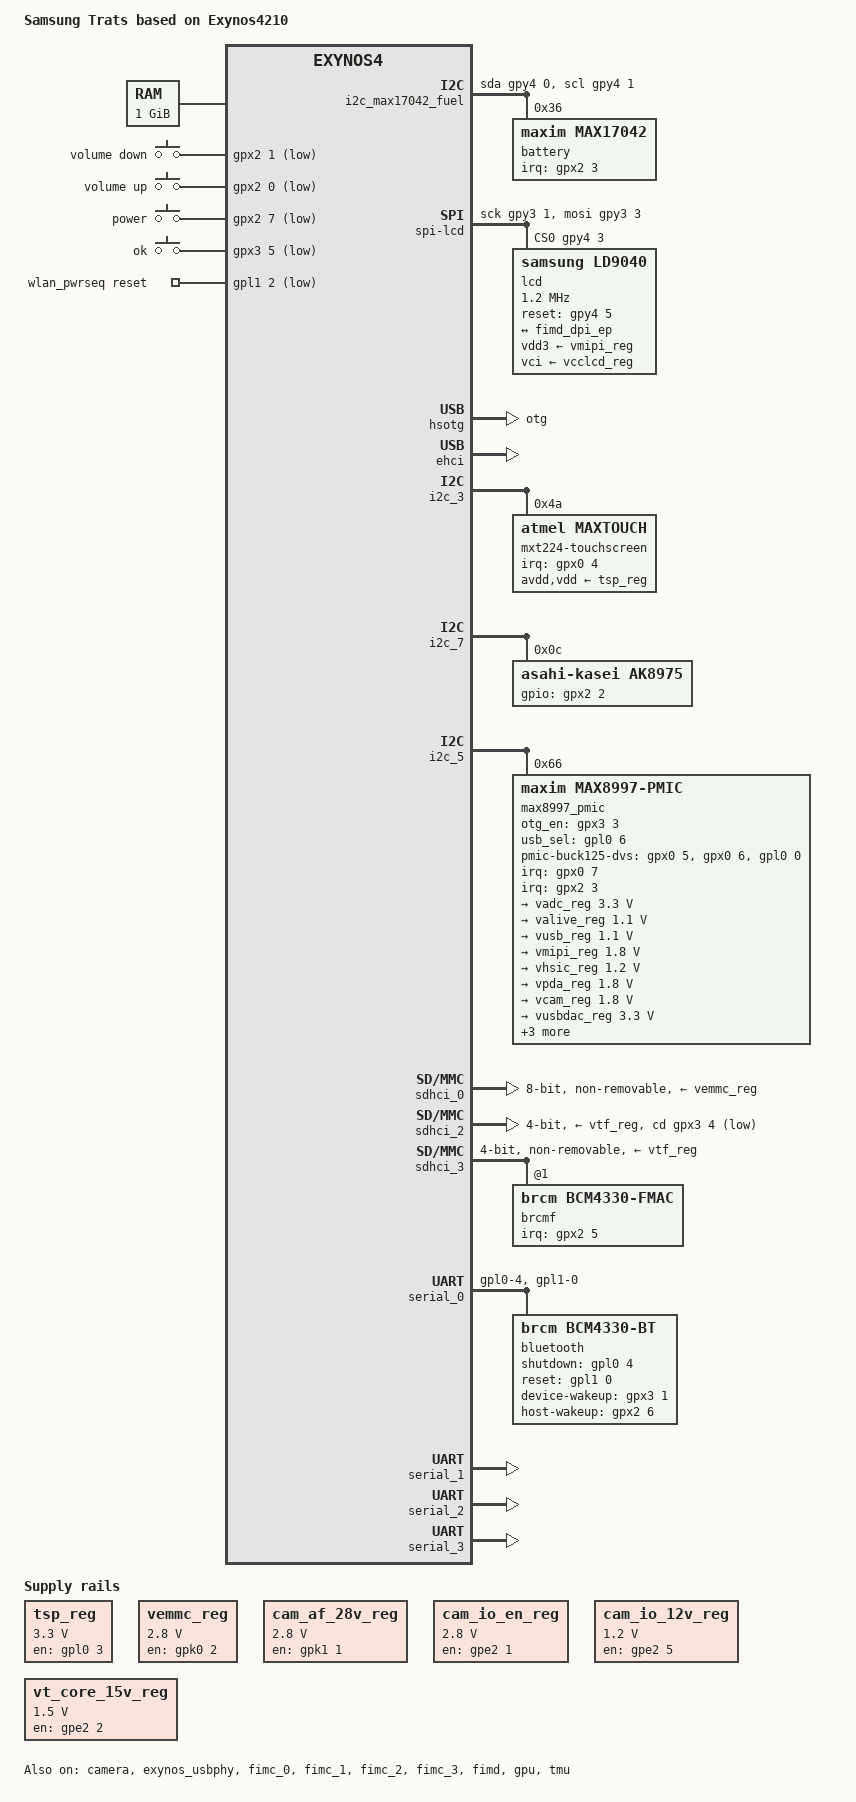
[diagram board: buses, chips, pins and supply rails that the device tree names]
// SPDX-License-Identifier: GPL-2.0
/*
 * Samsung's Exynos4210 based Trats board device tree source
 *
 * Copyright (c) 2012 Samsung Electronics Co., Ltd.
 *		http://www.samsung.com
 *
 * Device tree source file for Samsung's Trats board which is based on
 * Samsung's Exynos4210 SoC.
 */

/dts-v1/;
#include "exynos4210.dtsi"
#include "exynos4412-ppmu-common.dtsi"

#include <dt-bindings/gpio/gpio.h>

/ {
	model = "Samsung Trats based on Exynos4210";
	compatible = "samsung,i9100", "samsung,exynos4210", "samsung,exynos4";


	memory@40000000 {
		device_type = "memory";
		reg =  <0x40000000 0x40000000>;
	};


                tsp_reg: regulator-1 {
                        compatible = "regulator-fixed";
                        regulator-name = "TSP_FIXED_VOLTAGES";
                        regulator-min-microvolt = <3300000>;
                        regulator-max-microvolt = <3300000>;
                        gpio = <&gpl0 3 GPIO_ACTIVE_HIGH>;
			startup-delay-us = <70000>;
			enable-active-high;
			regulator-boot-on;
	                regulator-always-on;
                };

		vemmc_reg: regulator-0 {
			compatible = "regulator-fixed";
			regulator-name = "VMEM_VDD_2.8V";
			regulator-min-microvolt = <2800000>;
			regulator-max-microvolt = <2800000>;
			gpio = <&gpk0 2 GPIO_ACTIVE_HIGH>;
			enable-active-high;
		};

		cam_af_28v_reg: regulator-3 {
			compatible = "regulator-fixed";
			regulator-name = "8M_AF_2.8V_EN";
			regulator-min-microvolt = <2800000>;
			regulator-max-microvolt = <2800000>;
			gpio = <&gpk1 1 GPIO_ACTIVE_HIGH>;
			enable-active-high;
		};

		cam_io_en_reg: regulator-4 {
			compatible = "regulator-fixed";
			regulator-name = "CAM_IO_EN";
			regulator-min-microvolt = <2800000>;
			regulator-max-microvolt = <2800000>;
			gpio = <&gpe2 1 GPIO_ACTIVE_HIGH>;
			enable-active-high;
		};

		cam_io_12v_reg: regulator-5 {
			compatible = "regulator-fixed";
			regulator-name = "8M_1.2V_EN";
			regulator-min-microvolt = <1200000>;
			regulator-max-microvolt = <1200000>;
			gpio = <&gpe2 5 GPIO_ACTIVE_HIGH>;
			enable-active-high;
		};

		vt_core_15v_reg: regulator-6 {
			compatible = "regulator-fixed";
			regulator-name = "VT_CORE_1.5V";
			regulator-min-microvolt = <1500000>;
			regulator-max-microvolt = <1500000>;
			gpio = <&gpe2 2 GPIO_ACTIVE_HIGH>;
			enable-active-high;
		};

	gpio-keys {
		compatible = "gpio-keys";

		vol-down-key {
			gpios = <&gpx2 1 GPIO_ACTIVE_LOW>;
			linux,code = <114>;
			label = "volume down";
			debounce-interval = <10>;
		};

		vol-up-key {
			gpios = <&gpx2 0 GPIO_ACTIVE_LOW>;
			linux,code = <115>;
			label = "volume up";
			debounce-interval = <10>;
		};

		power-key {
			gpios = <&gpx2 7 GPIO_ACTIVE_LOW>;
			linux,code = <116>;
			label = "power";
			debounce-interval = <10>;
			wakeup-source;
		};

		ok-key {
			gpios = <&gpx3 5 GPIO_ACTIVE_LOW>;
			linux,code = <352>;
			label = "ok";
			debounce-interval = <10>;
		};
	};

        wlan_pwrseq: sdhci3-pwrseq {
                compatible = "mmc-pwrseq-simple";
                reset-gpios = <&gpl1 2 GPIO_ACTIVE_LOW>;
        };

        i2c_max17042_fuel: i2c-gpio-3 {
                compatible = "i2c-gpio";
                gpios = <&gpy4 0 GPIO_ACTIVE_HIGH>, <&gpy4 1 GPIO_ACTIVE_HIGH>;
                i2c-gpio,delay-us = <5>;
                #address-cells = <1>;
                #size-cells = <0>;
                status = "okay";

                battery@36 {
                        compatible = "maxim,max17042";
                        pinctrl-0 = <&max17042_fuel_irq>;
                        pinctrl-names = "default";
                        interrupt-parent = <&gpx2>;
                        interrupts = <3 2>;

                        reg = <0x36>;
                        maxim,over-heat-temp = <700>;
                        maxim,over-volt = <4500>;

                };
        };

	spi-lcd {
		compatible = "spi-gpio";
		#address-cells = <1>;
		#size-cells = <0>;

		gpio-sck = <&gpy3 1 GPIO_ACTIVE_HIGH>;
		gpio-mosi = <&gpy3 3 GPIO_ACTIVE_HIGH>;
		num-chipselects = <1>;
		cs-gpios = <&gpy4 3 GPIO_ACTIVE_HIGH>;

		lcd@0 {
			compatible = "samsung,ld9040";
			reg = <0>;
			vdd3-supply = <&vmipi_reg>;
			vci-supply = <&vcclcd_reg>;
			reset-gpios = <&gpy4 5 GPIO_ACTIVE_HIGH>;
			spi-max-frequency = <1200000>;
			spi-cpol;
			spi-cpha;
			power-on-delay = <10>;
			reset-delay = <10>;
			panel-width-mm = <90>;
			panel-height-mm = <154>;
			display-timings {
				timing {
					clock-frequency = <23492370>;
					hactive = <480>;
					vactive = <800>;
					hback-porch = <16>;
					hfront-porch = <16>;
					vback-porch = <2>;
					vfront-porch = <28>;
					hsync-len = <2>;
					vsync-len = <1>;
					hsync-active = <0>;
					vsync-active = <0>;
					de-active = <0>;
					pixelclk-active = <0>;
				};
			};
			port {
				lcd_ep: endpoint {
					remote-endpoint = <&fimd_dpi_ep>;
				};
			};
		};
	};

	fixed-rate-clocks {
		xxti {
			compatible = "samsung,clock-xxti";
			clock-frequency = <0>;
		};

		xusbxti {
			compatible = "samsung,clock-xusbxti";
			clock-frequency = <24000000>;
		};
	};

	thermal-zones {
		cpu_thermal: cpu-thermal {
			cooling-maps {
				map0 {
				     /* Corresponds to 800MHz at freq_table */
				     cooling-device = <&cpu0 2 2>;
				};
				map1 {
				     /* Corresponds to 200MHz at freq_table */
				     cooling-device = <&cpu0 4 4>;
			       };
		       };
		};
	};

};

&camera {
	pinctrl-names = "default";
	pinctrl-0 = <>;
	status = "okay";
};

&cpu0 {
	cpu0-supply = <&varm_breg>;
};

&exynos_usbphy {
	status = "okay";
        vbus-supply = <&safe1_sreg>;
};

&fimc_0 {
	status = "okay";
	assigned-clocks = <&clock CLK_MOUT_FIMC0>,
			  <&clock CLK_SCLK_FIMC0>;
	assigned-clock-parents = <&clock CLK_SCLK_MPLL>;
	assigned-clock-rates = <0>, <160000000>;
};

&fimc_1 {
	status = "okay";
	assigned-clocks = <&clock CLK_MOUT_FIMC1>,
			  <&clock CLK_SCLK_FIMC1>;
	assigned-clock-parents = <&clock CLK_SCLK_MPLL>;
	assigned-clock-rates = <0>, <160000000>;
};

&fimc_2 {
	status = "okay";
	assigned-clocks = <&clock CLK_MOUT_FIMC2>,
			  <&clock CLK_SCLK_FIMC2>;
	assigned-clock-parents = <&clock CLK_SCLK_MPLL>;
		assigned-clock-rates = <0>, <160000000>;
};

&fimc_3 {
	status = "okay";
	assigned-clocks = <&clock CLK_MOUT_FIMC3>,
			  <&clock CLK_SCLK_FIMC3>;
	assigned-clock-parents = <&clock CLK_SCLK_MPLL>;
	assigned-clock-rates = <0>, <160000000>;
};

&fimd {
	pinctrl-0 = <&lcd_clk>, <&lcd_data24>;
	pinctrl-names = "default";
	status = "okay";
	samsung,invert-vden;
	samsung,invert-vclk;
	#address-cells = <1>;
	#size-cells = <0>;
	port@3 {
		reg = <3>;
		fimd_dpi_ep: endpoint {
			remote-endpoint = <&lcd_ep>;
		};
	};
};

&hsotg {
	vusb_d-supply = <&vusb_reg>;
	vusb_a-supply = <&vusbdac_reg>;
        dr_mode = "otg";
	status = "okay";
};

&ehci {
        status = "okay";

        port@0 {
                status = "okay";
        };

        port@1 {
                status = "okay";
        };
        port@2 {
                status = "okay";
        };
};


&i2c_3 {
	samsung,i2c-sda-delay = <100>;
	samsung,i2c-slave-addr = <0x10>;
	samsung,i2c-max-bus-freq = <100000>;
	pinctrl-0 = <&i2c3_bus>;
	pinctrl-names = "default";
	status = "okay";

	mxt224-touchscreen@4a {
                compatible = "atmel,maxtouch";
		reg = <0x4a>;
		interrupt-parent = <&gpx0>;
		interrupts = <4 IRQ_TYPE_EDGE_FALLING>;
                avdd-supply = <&tsp_reg>;
                vdd-supply = <&tsp_reg>;
	};
};

&i2c_7 {
        samsung,i2c-sda-delay = <100>;
        samsung,i2c-slave-addr = <0x10>;
        samsung,i2c-max-bus-freq = <400000>;
        pinctrl-0 = <&i2c7_bus>;
        pinctrl-names = "default";
        status = "okay";

        ak8975@c {
                        compatible = "asahi-kasei,ak8975";
                        reg = <0x0c>;
                        gpios = <&gpx2 2 GPIO_ACTIVE_HIGH>;
                };
};


&i2c_5 {
	samsung,i2c-sda-delay = <100>;
	samsung,i2c-slave-addr = <0x10>;
	samsung,i2c-max-bus-freq = <100000>;
	pinctrl-0 = <&i2c5_bus>;
	pinctrl-names = "default";
	status = "okay";

	max8997_pmic@66 {
		compatible = "maxim,max8997-pmic";
                interrupts-extended = <&gpx0 7 0>, <&gpx2 3 2>;

		pinctrl-0 = <&max8997_irq &otg_gp &usb_sel>;
		pinctrl-names = "default";
		
		otg_en-gpios = <&gpx3 3 0>;
                usb_sel-gpios = <&gpl0 6 0>;


		reg = <0x66>;
		interrupt-parent = <&gpx0>;
		interrupts = <7 IRQ_TYPE_NONE>;

		max8997,pmic-buck1-uses-gpio-dvs;
		max8997,pmic-buck2-uses-gpio-dvs;
		max8997,pmic-buck5-uses-gpio-dvs;

		max8997,pmic-ignore-gpiodvs-side-effect;
		max8997,pmic-buck125-default-dvs-idx = <0>;

		max8997,pmic-buck125-dvs-gpios = <&gpx0 5 GPIO_ACTIVE_HIGH>,
						 <&gpx0 6 GPIO_ACTIVE_HIGH>,
						 <&gpl0 0 GPIO_ACTIVE_HIGH>;

		max8997,pmic-buck1-dvs-voltage = <1350000>, <1300000>,
						 <1250000>, <1200000>,
						 <1150000>, <1100000>,
						 <1000000>, <950000>;

		max8997,pmic-buck2-dvs-voltage = <1100000>, <1000000>,
						 <950000>,  <900000>,
						 <1100000>, <1000000>,
						 <950000>,  <900000>;

		max8997,pmic-buck5-dvs-voltage = <1200000>, <1200000>,
						 <1200000>, <1200000>,
						 <1200000>, <1200000>,
						 <1200000>, <1200000>;

		regulators {
                        vadc_reg: LDO1 {
                             regulator-name = "VADC_3.3V_C210";
                             regulator-min-microvolt = <3300000>;
                             regulator-max-microvolt = <3300000>;
                             regulator-always-on;

                        };
			valive_reg: LDO2 {
			     regulator-name = "VALIVE_1.1V_C210";
			     regulator-min-microvolt = <1100000>;
			     regulator-max-microvolt = <1100000>;
                             regulator-always-on;

			};

			vusb_reg: LDO3 {
			     regulator-name = "VUSB_1.1V_C210";
			     regulator-min-microvolt = <1100000>;
			     regulator-max-microvolt = <1100000>;
			};

			vmipi_reg: LDO4 {
			     regulator-name = "VMIPI_1.8V";
			     regulator-min-microvolt = <1800000>;
			     regulator-max-microvolt = <1800000>;
                             regulator-always-on;
			};

                        vhsic_reg: LDO5 {
                             regulator-name = "VHSIC_1.2V";
                             regulator-min-microvolt = <1200000>;
                             regulator-max-microvolt = <1200000>;
                             regulator-always-on;
                        };

			vpda_reg: LDO6 {
			     regulator-name = "VCC_1.8V_PDA";
			     regulator-min-microvolt = <1800000>;
			     regulator-max-microvolt = <1800000>;
			     regulator-always-on;
			};

			vcam_reg: LDO7 {
			     regulator-name = "CAM_ISP_1.8V";
			     regulator-min-microvolt = <1800000>;
			     regulator-max-microvolt = <1800000>;
			};

			vusbdac_reg: LDO8 {
			     regulator-name = "VUSB+VDAC_3.3V_C210";
			     regulator-min-microvolt = <3300000>;
			     regulator-max-microvolt = <3300000>;
			};

			vccpda_reg: LDO9 {
			     regulator-name = "VCC_2.8V_PDA";
			     regulator-min-microvolt = <2800000>;
			     regulator-max-microvolt = <2800000>;
			     regulator-always-on;
			};

                        vtouch_reg: LDO11 {
                             regulator-name = "TOUCH_2.8V";
                             regulator-min-microvolt = <2800000>;
                             regulator-max-microvolt = <2800000>;
                             regulator-always-on;
                        };

			vpll_reg: LDO10 {
			     regulator-name = "VPLL_1.1V";
			     regulator-min-microvolt = <1100000>;
			     regulator-max-microvolt = <1100000>;
			     regulator-always-on;
			};

			vtcam_reg: LDO12 {
			     regulator-name = "VT_CAM_1.8V";
			     regulator-min-microvolt = <1800000>;
			     regulator-max-microvolt = <1800000>;
			};

			vcclcd_reg: LDO13 {
			     regulator-name = "VCC_3.3V_LCD";
			     regulator-min-microvolt = <3300000>;
			     regulator-max-microvolt = <3300000>;
			};

                        vmotor_reg: LDO14 {
                             regulator-name = "VCC_2.8V_MOTOR";
                             regulator-min-microvolt = <2800000>;
                             regulator-max-microvolt = <2800000>;
                        };

			vled_reg: LDO15 {
			     regulator-name = "LED_A_2.8V";
			     regulator-min-microvolt = <2800000>;
			     regulator-max-microvolt = <2800000>;
			};

			camsensor_reg: LDO16 {
			     regulator-name = "CAM_SENSOR_IO_1.8V";
			     regulator-min-microvolt = <1800000>;
			     regulator-max-microvolt = <1800000>;
			};

                        vtf_reg: LDO17 {
                             regulator-name = "VTF_2.8V";
                             regulator-min-microvolt = <2800000>;
                             regulator-max-microvolt = <2800000>;
                        };

                        vtouchled_reg: LDO18 {
                             regulator-name = "TOUCH_LED_3.3V";
                             regulator-min-microvolt = <2500000>;
                             regulator-max-microvolt = <3300000>;
                        };

			vddq_reg: LDO21 {
			     regulator-name = "VDDQ_M1M2_1.2V";
			     regulator-min-microvolt = <1200000>;
			     regulator-max-microvolt = <1200000>;
			     regulator-always-on;
			};

			varm_breg: BUCK1 {
			     /*
			      * HACK: The real name is VARM_1.2V_C210,
			      * but exynos-cpufreq does not support
			      * DT-based regulator lookup yet.
			      */
			     regulator-name = "vdd_arm";
			     regulator-min-microvolt = <65000>;
			     regulator-max-microvolt = <2225000>;
			     regulator-always-on;
			};

			vint_breg: BUCK2 {
			     regulator-name = "VINT_1.1V_C210";
			     regulator-min-microvolt = <65000>;
			     regulator-max-microvolt = <2225000>;
			     regulator-always-on;
			};

                        vg3d_breg: BUCK3 {
                             regulator-name = "G3D_1.1V";
                             regulator-min-microvolt = <900000>;
                             regulator-max-microvolt = <1200000>;
                             regulator-always-on;
                        };

			camisp_breg: BUCK4 {
			     regulator-name = "CAM_ISP_CORE_1.2V";
			     regulator-min-microvolt = <1200000>;
			     regulator-max-microvolt = <1200000>;
			};

			vmem_breg: BUCK5 {
			     regulator-name = "VMEM_1.2V";
			     regulator-min-microvolt = <1200000>;
			     regulator-max-microvolt = <1200000>;
			     regulator-always-on;
			};

			vccsub_breg: BUCK7 {
			     regulator-name = "VCC_SUB_2.0V";
			     regulator-min-microvolt = <2000000>;
			     regulator-max-microvolt = <2000000>;
			     regulator-always-on;
			};

			safe1_sreg: ESAFEOUT1 {
			     regulator-name = "SAFEOUT1";
			};

			safe2_sreg: ESAFEOUT2 {
			     regulator-name = "SAFEOUT2";
			     regulator-boot-on;
			};
                        charger_reg: CHARGER {
                                        regulator-name = "CHARGER";
                                        regulator-min-microamp = <60000>;
                                        regulator-max-microamp = <2580000>;
		                        regulator-always-on;
                        };
                        chargercv_reg: CHARGER_CV {
                             regulator-name = "CHARGER_CV";
                             regulator-min-microvolt = <3800000>;
                             regulator-max-microvolt = <4100000>;
                             regulator-always-on;
                        };

		};

	};
};


&gpu {
        mali-supply = <&vg3d_breg>;
        status = "okay";
	regulator-microvolt-offset = <50000>;
	regulator-microsecs-delay = <50>;
};


&sdhci_0 {
	bus-width = <8>;
	non-removable;
	pinctrl-0 = <&sd0_clk &sd0_cmd &sd0_bus8>;
	pinctrl-names = "default";
	vmmc-supply = <&vemmc_reg>;
	status = "okay";
};

&sdhci_2 {
        bus-width = <4>;
        cd-gpios = <&gpx3 4 GPIO_ACTIVE_LOW>;
        pinctrl-0 = <&sd2_clk &sd2_cmd &sd2_bus4>;
        pinctrl-names = "default";
        vmmc-supply = <&vtf_reg>;
        status = "okay";
};

&ehci {
        port@0 {
                status = "okay";
        };

        port@1 {
                status = "okay";
        };

        port@2 {
                status = "okay";
        };

};


&sdhci_3 {
        #address-cells = <1>;
        #size-cells = <0>;
        non-removable;
        bus-width = <4>;

        mmc-pwrseq = <&wlan_pwrseq>;
        pinctrl-names = "default";
        pinctrl-0 = <&sd3_clk &sd3_cmd &sd3_bus4>;
        status = "okay";
        vmmc-supply = <&vtf_reg>;

        brcmf: wifi@1 {
                reg = <1>;
                compatible = "brcm,bcm4330-fmac";
                interrupt-parent = <&gpx2>;
                interrupts = <5 IRQ_TYPE_LEVEL_HIGH>;
                interrupt-names = "host-wake";
        };
};


&serial_0 {
	status = "okay";
        pinctrl-names = "default";
        pinctrl-0 = <&bt_en &bt_res &uart0_data &uart0_fctl>;

	bluetooth {
		compatible = "brcm,bcm4330-bt";
		shutdown-gpios = <&gpl0 4 GPIO_ACTIVE_HIGH>;
                reset-gpios = <&gpl1 0 GPIO_ACTIVE_HIGH>;
		device-wakeup-gpios = <&gpx3 1 GPIO_ACTIVE_HIGH>;
		host-wakeup-gpios = <&gpx2 6 GPIO_ACTIVE_HIGH>;
	};
};

&serial_1 {
	status = "okay";
};

&serial_2 {
	status = "okay";
};

&serial_3 {
	status = "okay";
};

&tmu {
	status = "okay";
};


&pinctrl_0 {
        pinctrl-names = "default";
        pinctrl-0 = <&sleep0>;


        sleep0: sleep-states {
                PIN_SLP(gpa0-0, INPUT, NONE);
                PIN_SLP(gpa0-1, OUT0, NONE);
                PIN_SLP(gpa0-2, INPUT, NONE);
                PIN_SLP(gpa0-3, OUT1, NONE);
	};
};

&pinctrl_1 {
        mhl_int: mhl-int {
                samsung,pins = "gpf3-5";
                samsung,pin-pud = <EXYNOS_PIN_PULL_NONE>;
        };

        i2c_mhl_bus: i2c-mhl-bus {
                samsung,pins = "gpf0-4", "gpf0-6";
                samsung,pin-function = <EXYNOS_PIN_FUNC_2>;
                samsung,pin-pud = <EXYNOS_PIN_PULL_DOWN>;
                samsung,pin-drv = <EXYNOS4_PIN_DRV_LV1>;
        };

        usb_sel: usb-sel {
                samsung,pins = "gpl0-6";
                samsung,pin-function = <EXYNOS_PIN_FUNC_OUTPUT>;
                samsung,pin-pud = <EXYNOS_PIN_PULL_NONE>;
                samsung,pin-drv = <EXYNOS4_PIN_DRV_LV1>;
                samsung,pin-val = <0>;
        };

        bt_en: bt-en {
                samsung,pins = "gpl0-4";
                samsung,pin-function = <EXYNOS_PIN_FUNC_OUTPUT>;
                samsung,pin-pud = <EXYNOS_PIN_PULL_NONE>;
                samsung,pin-drv = <EXYNOS4_PIN_DRV_LV4>;
                samsung,pin-val = <0>;
        };

        bt_res: bt-res {
                samsung,pins = "gpl1-0";
                samsung,pin-function = <EXYNOS_PIN_FUNC_OUTPUT>;
                samsung,pin-pud = <EXYNOS_PIN_PULL_NONE>;
                samsung,pin-drv = <EXYNOS4_PIN_DRV_LV4>;
                samsung,pin-val = <0>;
        };


        otg_gp: otg-gp {
                samsung,pins = "gpx3-3";
                samsung,pin-function = <EXYNOS_PIN_FUNC_OUTPUT>;
                samsung,pin-pud = <EXYNOS_PIN_PULL_NONE>;
                samsung,pin-drv = <EXYNOS4_PIN_DRV_LV1>;
                samsung,pin-val = <0>;
        };

        mag_mhl_gpio: mag-mhl-gpio {
                samsung,pins = "gpd0-2";
                samsung,pin-function = <EXYNOS_PIN_FUNC_3>;
                samsung,pin-pud = <EXYNOS_PIN_PULL_NONE>;
        };


        max8997_irq: max8997-irq {
                samsung,pins = "gpx0-7";
                samsung,pin-pud = <EXYNOS_PIN_PULL_NONE>;
        };

        max17042_fuel_irq: max17042-fuel-irq {
                samsung,pins = "gpx2-3";
                samsung,pin-pud = <EXYNOS_PIN_PULL_NONE>;
        };

        tsp224_irq: tsp224-irq {
                samsung,pins = "gpx0-4";
                samsung,pin-pud = <EXYNOS_PIN_PULL_UP>;
        };
};
